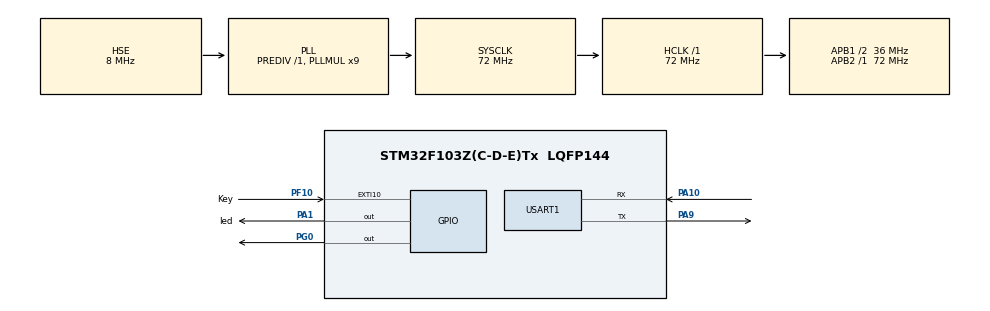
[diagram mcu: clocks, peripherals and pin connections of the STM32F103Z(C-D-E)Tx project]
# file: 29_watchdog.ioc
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Mcu.Family=STM32F1
Mcu.Name=STM32F103Z(C-D-E)Tx
Mcu.Package=LQFP144
NVIC.EXTI15_10_IRQn=true\:0\:0\:false\:false\:true\:true\:true\:true
NVIC.PriorityGroup=NVIC_PRIORITYGROUP_4
OSC_IN.Mode=HSE-External-Oscillator
OSC_IN.Signal=RCC_OSC_IN
OSC_OUT.Mode=HSE-External-Oscillator
OSC_OUT.Signal=RCC_OSC_OUT
PA1.GPIO_Label=led
PA1.GPIO_PuPd=GPIO_PULLDOWN
PA1.GPIO_Speed=GPIO_SPEED_FREQ_HIGH
PA1.PinState=GPIO_PIN_SET
PA1.Signal=GPIO_Output
PA10.Mode=Asynchronous
PA10.Signal=USART1_RX
PA13.Mode=Serial_Wire
PA13.Signal=SYS_JTMS-SWDIO
PA14.Mode=Serial_Wire
PA14.Signal=SYS_JTCK-SWCLK
PA9.Mode=Asynchronous
PA9.Signal=USART1_TX
PC14-OSC32_IN.Mode=LSE-External-Oscillator
PC14-OSC32_IN.Signal=RCC_OSC32_IN
PC15-OSC32_OUT.Mode=LSE-External-Oscillator
PC15-OSC32_OUT.Signal=RCC_OSC32_OUT
PF10.GPIO_Label=Key
PF10.GPIO_PuPd=GPIO_PULLDOWN
PF10.Signal=GPXTI10
PG0.Signal=GPIO_Output
ProjectManager.HeapSize=0x200
ProjectManager.StackSize=0x400
ProjectManager.TargetToolchain=CMake
RCC.AHBFreq_Value=72000000
RCC.APB1CLKDivider=RCC_HCLK_DIV2
RCC.APB1Freq_Value=36000000
RCC.APB1TimFreq_Value=72000000
RCC.APB2Freq_Value=72000000
RCC.APB2TimFreq_Value=72000000
RCC.HCLKFreq_Value=72000000
RCC.PLLMUL=RCC_PLL_MUL9
RCC.PLLSourceVirtual=RCC_PLLSOURCE_HSE
RCC.SYSCLKFreq_VALUE=72000000
RCC.SYSCLKSource=RCC_SYSCLKSOURCE_PLLCLK
RCC.USBFreq_Value=72000000
USART1.VirtualMode=VM_ASYNC
VP_IWDG_VS_IWDG.Mode=IWDG_Activate
board=custom

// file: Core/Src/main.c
/* USER CODE BEGIN Header */
/**
  ******************************************************************************
  * @file           : main.c
  * @brief          : Main program body
  ******************************************************************************
  * @attention
  *
  * Copyright (c) 2026 STMicroelectronics.
  * All rights reserved.
  *
  * This software is licensed under terms that can be found in the LICENSE file
  * in the root directory of this software component.
  * If no LICENSE file comes with this software, it is provided AS-IS.
  *
  ******************************************************************************
  */
/* USER CODE END Header */
#include "main.h"

#include <stdio.h>

#include "iwdg.h"
#include "usart.h"
#include "gpio.h"

void SystemClock_Config(void);

/* USER CODE BEGIN 0 */

int flag = 0;

void HAL_GPIO_EXTI_Callback(uint16_t GPIO_Pin)
{
  flag = 1;
}

/* USER CODE END 0 */

int main(void)
{

  /* MCU Configuration--------------------------------------------------------*/

  /* Reset of all peripherals, Initializes the Flash interface and the Systick. */
  HAL_Init();

  /* Configure the system clock */
  SystemClock_Config();

  /* Initialize all configured peripherals */
  MX_GPIO_Init();
  MX_IWDG_Init();
  MX_USART1_UART_Init();
  /* USER CODE BEGIN 2 */

  // 看门狗测试
  printf("Watchdog test\r\n");

  /* USER CODE END 2 */

  /* Infinite loop */
  /* USER CODE BEGIN WHILE */
  while (1)
  {
    // 1. 假装程序运行

    // 加入按钮 key 的判端
    if (flag)
    {
      flag = 0;

      printf("Button pressed\r\n");
      // 工作 led 闪烁
      for (int i = 0; i < 100; i++)
      {
        printf("Working led %d\r\n", i);
        HAL_GPIO_TogglePin(led_GPIO_Port, led_Pin);
        HAL_GPIO_TogglePin(GPIOG, GPIO_PIN_0);
        HAL_GPIO_TogglePin(GPIOG, GPIO_PIN_0);
        HAL_GPIO_TogglePin(GPIOG, GPIO_PIN_0);
        HAL_Delay(20);
      }

      printf("PG0\r\n");
      // pg0
    }

    // 程序结束，喂狗
    HAL_IWDG_Refresh(&hiwdg);
    // 最终效果
    // Watchdog test
    // Button pressed
    // Working led 0
    // Working led 1
    // Working led 2
    // Working led 3
    // Working led 4
    // Working led 5
    // Working led 6
    // Working led 7
    // Working led 8
    // Working led 9
    // Working led 10
    // Working led 11
    // Working led 12
    // Working led 13
    // Working led 14
    // Working led 15
    // Working led 16
    // Working led 17
    // Working led 18
    // Working led 19
    // Watchdog test

    /* USER CODE END WHILE */

  }
}

void SystemClock_Config(void)
{
  RCC_OscInitTypeDef RCC_OscInitStruct = {0};
  RCC_ClkInitTypeDef RCC_ClkInitStruct = {0};

  /** Initializes the RCC Oscillators according to the specified parameters
  * in the RCC_OscInitTypeDef structure.
  */
  RCC_OscInitStruct.OscillatorType = RCC_OSCILLATORTYPE_LSI | RCC_OSCILLATORTYPE_HSE;
  RCC_OscInitStruct.HSEState = RCC_HSE_ON;
  RCC_OscInitStruct.HSEPredivValue = RCC_HSE_PREDIV_DIV1;
  RCC_OscInitStruct.HSIState = RCC_HSI_ON;
  RCC_OscInitStruct.LSIState = RCC_LSI_ON;
  RCC_OscInitStruct.PLL.PLLState = RCC_PLL_ON;
  RCC_OscInitStruct.PLL.PLLSource = RCC_PLLSOURCE_HSE;
  RCC_OscInitStruct.PLL.PLLMUL = RCC_PLL_MUL9;
  if (HAL_RCC_OscConfig(&RCC_OscInitStruct) != HAL_OK)
  {
    Error_Handler();
  }

  /** Initializes the CPU, AHB and APB buses clocks
  */
  RCC_ClkInitStruct.ClockType = RCC_CLOCKTYPE_HCLK | RCC_CLOCKTYPE_SYSCLK
    | RCC_CLOCKTYPE_PCLK1 | RCC_CLOCKTYPE_PCLK2;
  RCC_ClkInitStruct.SYSCLKSource = RCC_SYSCLKSOURCE_PLLCLK;
  RCC_ClkInitStruct.AHBCLKDivider = RCC_SYSCLK_DIV1;
  RCC_ClkInitStruct.APB1CLKDivider = RCC_HCLK_DIV2;
  RCC_ClkInitStruct.APB2CLKDivider = RCC_HCLK_DIV1;

  if (HAL_RCC_ClockConfig(&RCC_ClkInitStruct, FLASH_LATENCY_2) != HAL_OK)
  {
    Error_Handler();
  }
}

void Error_Handler(void)
{
  __disable_irq();
  while (1)
  {
  }
}
